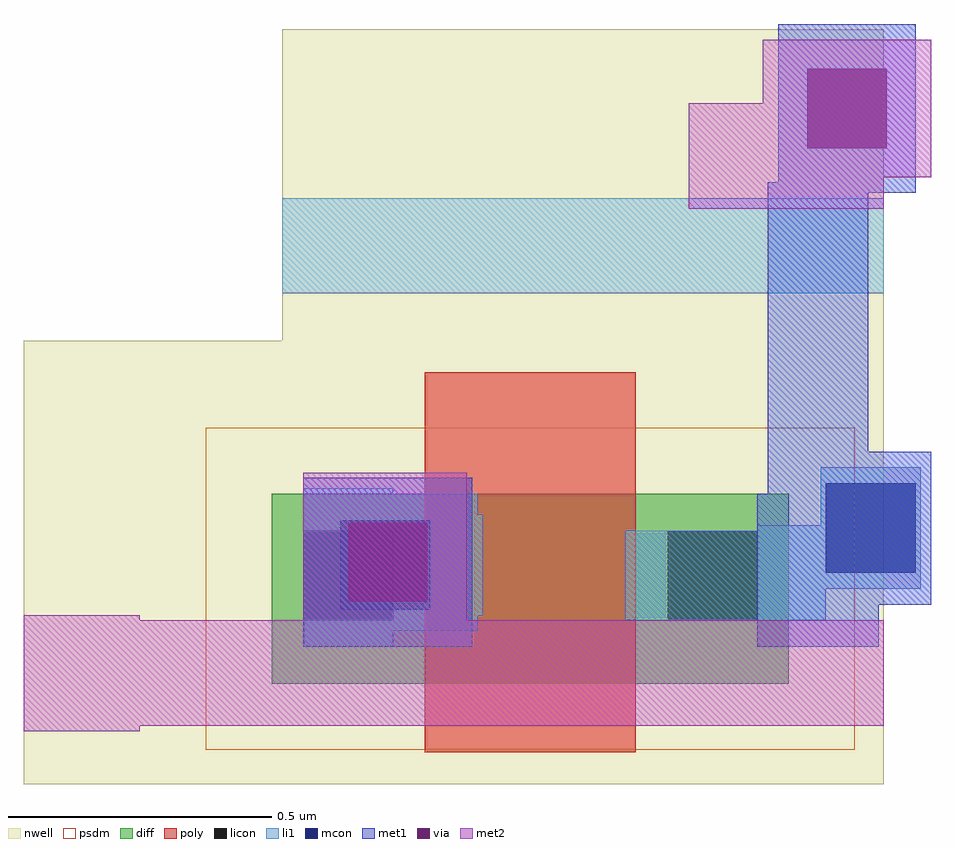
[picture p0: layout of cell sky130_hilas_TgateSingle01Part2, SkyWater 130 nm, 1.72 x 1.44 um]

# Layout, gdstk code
import gdstk
lib = gdstk.Library(unit=1e-6, precision=1e-09)
def R(c, l, rs):  # rectangles x0, y0, x1, y1
    for r in rs: c.add(gdstk.rectangle(r[:2], r[2:], *l))
nwell = (64, 20)
diff = (65, 20)
poly = (66, 20)
licon = (66, 44)
li1 = (67, 20)
mcon = (67, 44)
met1 = (68, 20)
via = (68, 44)
met2 = (69, 20)
psdm = (94, 20)

sky130_hilas_m12m2 = lib.new_cell('sky130_hilas_m12m2')
R(sky130_hilas_m12m2, met1, [(0.03,0,0.29,0.32)])
R(sky130_hilas_m12m2, via, [(0.085,0.085,0.235,0.235)])
R(sky130_hilas_m12m2, met2, [(0,0.03,0.32,0.29)])

sky130_hilas_li2m2 = lib.new_cell('sky130_hilas_li2m2')
R(sky130_hilas_li2m2, li1, [(0.01,0.03,0.33,0.06), (0.01,0.06,0.34,0.25), (0.01,0.25,0.33,0.29)])
R(sky130_hilas_li2m2, mcon, [(0.07,0.07,0.24,0.24)])
R(sky130_hilas_li2m2, met1, [(0,0,0.32,0.32)])
R(sky130_hilas_li2m2, via, [(0.085,0.085,0.235,0.235)])
R(sky130_hilas_li2m2, met2, [(0,0,0.31,0.33)])

sky130_hilas_li2m1 = lib.new_cell('sky130_hilas_li2m1')
R(sky130_hilas_li2m1, li1, [(0.02,0.03,0.21,0.26)])
R(sky130_hilas_li2m1, mcon, [(0.03,0.06,0.2,0.23)])
R(sky130_hilas_li2m1, met1, [(0,0,0.23,0.29)])

sky130_hilas_tgatesingle = lib.new_cell('sky130_hilas_TgateSingle01Part2')
R(sky130_hilas_tgatesingle, nwell, [(0,0,1.63,0.84), (0.49,0.84,1.63,1.43)])
R(sky130_hilas_tgatesingle, diff, [(0.47,0.19,1.45,0.55)])
R(sky130_hilas_tgatesingle, poly, [(0.76,0.06,1.16,0.78)])
R(sky130_hilas_tgatesingle, licon, [(0.53,0.31,0.7,0.48), (1.22,0.31,1.39,0.48)])
R(sky130_hilas_tgatesingle, li1, [(0.53,0.26,0.7,0.56), (1.14,0.31,1.52,0.48), (1.39,0.48,1.52,0.49), (0.49,0.93,1.63,1.11)])
R(sky130_hilas_tgatesingle, met1, [(1.39,0.26,1.62,0.55), (1.41,0.55,1.6,1.14)])
R(sky130_hilas_tgatesingle, met2, [(0,0.1,0.22,0.11), (0,0.11,1.63,0.31), (0,0.31,0.22,0.32), (1.26,1.09,1.63,1.29)])
R(sky130_hilas_tgatesingle, psdm, [(0.345,0.065,1.575,0.675)])
sky130_hilas_tgatesingle.add(gdstk.Reference(sky130_hilas_m12m2, (1.4,1.12)))
sky130_hilas_tgatesingle.add(gdstk.Reference(sky130_hilas_li2m2, (0.53,0.26)))
sky130_hilas_tgatesingle.add(gdstk.Reference(sky130_hilas_li2m1, (1.49,0.34)))

lib.write_gds('sky130_hilas_TgateSingle01Part2.gds')
